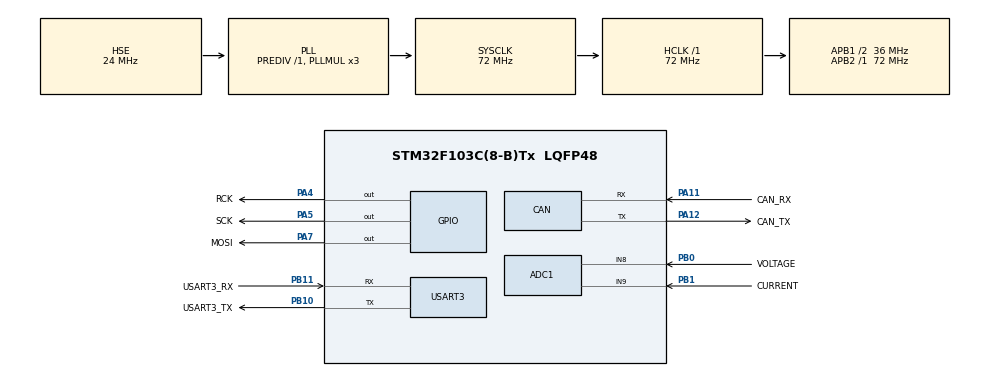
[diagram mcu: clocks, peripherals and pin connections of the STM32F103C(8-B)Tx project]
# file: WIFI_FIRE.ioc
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ADC1.Channel-0\#ChannelRegularConversion=ADC_CHANNEL_8
ADC1.NbrOfConversionFlag=1
ADC1.Rank-0\#ChannelRegularConversion=1
ADC1.SamplingTime-0\#ChannelRegularConversion=ADC_SAMPLETIME_1CYCLE_5
ADC1.master=1
CAN.CalculateTimeBit=1333
CAN.CalculateTimeQuantum=444.44444444444446
Mcu.Family=STM32F1
Mcu.Name=STM32F103C(8-B)Tx
Mcu.Package=LQFP48
NVIC.ADC1_2_IRQn=true\:2\:0\:true\:false\:true\:true
NVIC.PriorityGroup=NVIC_PRIORITYGROUP_4
NVIC.USART3_IRQn=true\:2\:0\:true\:false\:true\:true
PA11.GPIO_Label=CAN_RX
PA11.Mode=Master
PA11.Signal=CAN_RX
PA12.GPIO_Label=CAN_TX
PA12.Mode=Master
PA12.Signal=CAN_TX
PA13.Mode=Serial_Wire
PA13.Signal=SYS_JTMS-SWDIO
PA14.Mode=Serial_Wire
PA14.Signal=SYS_JTCK-SWCLK
PA4.GPIO_Label=RCK
PA4.GPIO_Speed=GPIO_SPEED_FREQ_MEDIUM
PA4.Signal=GPIO_Output
PA5.GPIO_Label=SCK
PA5.Signal=GPIO_Output
PA7.GPIO_Label=MOSI
PA7.Signal=GPIO_Output
PB0.GPIO_Label=VOLTAGE
PB0.Signal=ADCx_IN8
PB1.GPIO_Label=CURRENT
PB1.Signal=ADCx_IN9
PB10.GPIO_Label=USART3_TX
PB10.Mode=Asynchronous
PB10.Signal=USART3_TX
PB11.GPIO_Label=USART3_RX
PB11.Mode=Asynchronous
PB11.Signal=USART3_RX
PD0-OSC_IN.Mode=HSE-External-Clock-Source
PD0-OSC_IN.Signal=RCC_OSC_IN
PD1-OSC_OUT.Mode=HSE-External-Clock-Source
PD1-OSC_OUT.Signal=RCC_OSC_OUT
ProjectManager.HeapSize=0x200
ProjectManager.StackSize=0x400
ProjectManager.TargetToolchain=MDK-ARM V5
RCC.ADCPresc=RCC_ADCPCLK2_DIV6
RCC.AHBFreq_Value=72000000
RCC.APB1CLKDivider=RCC_HCLK_DIV2
RCC.APB1Freq_Value=36000000
RCC.APB1TimFreq_Value=72000000
RCC.APB2Freq_Value=72000000
RCC.APB2TimFreq_Value=72000000
RCC.HCLKFreq_Value=72000000
RCC.HSE_VALUE=24000000
RCC.PLLMUL=RCC_PLL_MUL3
RCC.PLLSourceVirtual=RCC_PLLSOURCE_HSE
RCC.SYSCLKFreq_VALUE=72000000
RCC.SYSCLKSource=RCC_SYSCLKSOURCE_PLLCLK
RCC.USBFreq_Value=72000000
SH.ADCx_IN8.0=ADC1_IN8,IN8
SH.ADCx_IN9.0=ADC1_IN9,IN9
USART3.VirtualMode=VM_ASYNC
board=WIFI_FIRE

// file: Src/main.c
/**
  ******************************************************************************
  * File Name          : main.c
  * Description        : Main program body
  ******************************************************************************
  ** This notice applies to any and all portions of this file
  * that are not between comment pairs USER CODE BEGIN and
  * USER CODE END. Other portions of this file, whether
  * inserted by the user or by software development tools
  * are owned by their respective copyright owners.
  *
  * COPYRIGHT(c) 2019 STMicroelectronics
  *
  * Redistribution and use in source and binary forms, with or without modification,
  * are permitted provided that the following conditions are met:
  *   1. Redistributions of source code must retain the above copyright notice,
  *      this list of conditions and the following disclaimer.
  *   2. Redistributions in binary form must reproduce the above copyright notice,
  *      this list of conditions and the following disclaimer in the documentation
  *      and/or other materials provided with the distribution.
  *   3. Neither the name of STMicroelectronics nor the names of its contributors
  *      may be used to endorse or promote products derived from this software
  *      without specific prior written permission.
  *
  * THIS SOFTWARE IS PROVIDED BY THE COPYRIGHT HOLDERS AND CONTRIBUTORS "AS IS"
  * AND ANY EXPRESS OR IMPLIED WARRANTIES, INCLUDING, BUT NOT LIMITED TO, THE
  * IMPLIED WARRANTIES OF MERCHANTABILITY AND FITNESS FOR A PARTICULAR PURPOSE ARE
  * DISCLAIMED. IN NO EVENT SHALL THE COPYRIGHT HOLDER OR CONTRIBUTORS BE LIABLE
  * FOR ANY DIRECT, INDIRECT, INCIDENTAL, SPECIAL, EXEMPLARY, OR CONSEQUENTIAL
  * DAMAGES (INCLUDING, BUT NOT LIMITED TO, PROCUREMENT OF SUBSTITUTE GOODS OR
  * SERVICES; LOSS OF USE, DATA, OR PROFITS; OR BUSINESS INTERRUPTION) HOWEVER
  * CAUSED AND ON ANY THEORY OF LIABILITY, WHETHER IN CONTRACT, STRICT LIABILITY,
  * OR TORT (INCLUDING NEGLIGENCE OR OTHERWISE) ARISING IN ANY WAY OUT OF THE USE
  * OF THIS SOFTWARE, EVEN IF ADVISED OF THE POSSIBILITY OF SUCH DAMAGE.
  *
  ******************************************************************************
  */

#include "main.h"
#include "stm32f1xx_hal.h"
#include "adc.h"
#include "can.h"
#include "usart.h"
#include "gpio.h"

/* USER CODE BEGIN Includes */
#include "config.h"
#include "74hc595.h"
#include "math.h"
/* USER CODE END Includes */

/* USER CODE BEGIN PV */
/* Private variables ---------------------------------------------------------*/

#define MAX_CUR 180		//最大电流值
#define MAX_VOL 70		//最大电压值
u8 ERROR_FLG=0;	 		//超最大值报警

u8 Num[8]="        ";			//荧光管显示的字符变量

/* USER CODE END PV */

void SystemClock_Config(void);

/* USER CODE BEGIN PFP */
/* Private function prototypes -----------------------------------------------*/

/* USER CODE END PFP */

int main(void)
{

  /* USER CODE BEGIN 1 */
  u16 counter=0;
  u16 tmp;
  u16 current,voltage;
  u16 CurErr=0;				//电流误差
  u16 VolErr=0;
  u16 cur_temp[5]={0};
  u16 vol_temp[5]={0};
  u8 cur_length,vol_length;
  /* USER CODE END 1 */

  /* MCU Configuration----------------------------------------------------------*/

  /* Reset of all peripherals, Initializes the Flash interface and the Systick. */
  HAL_Init();

  /* Configure the system clock */
  SystemClock_Config();

  /* Initialize all configured peripherals */
  MX_GPIO_Init();
  MX_CAN_Init();
  MX_USART3_UART_Init();
  MX_ADC1_Init();

  /* USER CODE BEGIN 2 */
  HC595Init();			//初始化74HC595
  Num[four_pos]='a';
  Num[seven_pos]='u';
  printf("Init Ok\r\n");
  /* USER CODE END 2 */

  /* Infinite loop */
  while (1)
  {

  /* USER CODE BEGIN 3 */
   counter++;
   if(2000==counter)
   {
	   counter=0;									//计数器清零

	   current=800;
//	   current=Get_Adc(ADC_CHANNEL_8);
	   current=(current*200/1024)+CurErr;			//量程换算
	   voltage=500;
	   voltage=Get_Adc(ADC_CHANNEL_8);

	   voltage=(voltage*80/1024)+VolErr;
	   if(current>MAX_CUR || voltage>MAX_VOL)
	   {
		   ERROR_FLG=1;
		   break;
	   }

	   ResolveNumBit(current,cur_temp,&cur_length);	 //取每一位
	   switch(cur_length)
	   {
		   case 0x01:
		       Num[one_pos]=' ';
			   Num[two_pos]=' ';
			   Num[three_pos]=cur_temp[0];
			   break;
		   case 0x02:
			   Num[one_pos]=' ';
			   Num[two_pos]=cur_temp[1];
		       Num[three_pos]=cur_temp[0];
			   break;
		   case 0x03:
			   Num[one_pos]=cur_temp[2];
			   Num[two_pos]=cur_temp[1];
		       Num[three_pos]=cur_temp[0];
			   break;
		   default:
		       Num[one_pos]='-';
			   Num[two_pos]='-';
			   Num[three_pos]='-';
			   break;
	   }
	   ResolveNumBit(voltage,vol_temp,&vol_length);	//取每一位
	   switch(vol_length)
	   {
		   case 1:
		       Num[five_pos]=' ';
			   Num[six_pos]=vol_temp[0];
			   break;
		   case 2:
			   Num[five_pos]=vol_temp[1];
			   Num[six_pos]=vol_temp[0];
			   break;
		   default:
		       Num[five_pos]='-';
			   Num[six_pos]='-';
			   break;
	   }
	   printf("cur: %d A \t vol: %d V\r\n",current,voltage);

   }

	DispNum(Num);	//数码管显示

  }
  /* USER CODE END 3 */

}

/** System Clock Configuration
*/
void SystemClock_Config(void)
{

  RCC_OscInitTypeDef RCC_OscInitStruct;
  RCC_ClkInitTypeDef RCC_ClkInitStruct;
  RCC_PeriphCLKInitTypeDef PeriphClkInit;

    /**Initializes the CPU, AHB and APB busses clocks
    */
  RCC_OscInitStruct.OscillatorType = RCC_OSCILLATORTYPE_HSE;
  RCC_OscInitStruct.HSEState = RCC_HSE_BYPASS;
  RCC_OscInitStruct.HSEPredivValue = RCC_HSE_PREDIV_DIV1;
  RCC_OscInitStruct.HSIState = RCC_HSI_ON;
  RCC_OscInitStruct.PLL.PLLState = RCC_PLL_ON;
  RCC_OscInitStruct.PLL.PLLSource = RCC_PLLSOURCE_HSE;
  RCC_OscInitStruct.PLL.PLLMUL = RCC_PLL_MUL3;
  if (HAL_RCC_OscConfig(&RCC_OscInitStruct) != HAL_OK)
  {
    _Error_Handler(__FILE__, __LINE__);
  }

    /**Initializes the CPU, AHB and APB busses clocks
    */
  RCC_ClkInitStruct.ClockType = RCC_CLOCKTYPE_HCLK|RCC_CLOCKTYPE_SYSCLK
                              |RCC_CLOCKTYPE_PCLK1|RCC_CLOCKTYPE_PCLK2;
  RCC_ClkInitStruct.SYSCLKSource = RCC_SYSCLKSOURCE_PLLCLK;
  RCC_ClkInitStruct.AHBCLKDivider = RCC_SYSCLK_DIV1;
  RCC_ClkInitStruct.APB1CLKDivider = RCC_HCLK_DIV2;
  RCC_ClkInitStruct.APB2CLKDivider = RCC_HCLK_DIV1;

  if (HAL_RCC_ClockConfig(&RCC_ClkInitStruct, FLASH_LATENCY_2) != HAL_OK)
  {
    _Error_Handler(__FILE__, __LINE__);
  }

  PeriphClkInit.PeriphClockSelection = RCC_PERIPHCLK_ADC;
  PeriphClkInit.AdcClockSelection = RCC_ADCPCLK2_DIV6;
  if (HAL_RCCEx_PeriphCLKConfig(&PeriphClkInit) != HAL_OK)
  {
    _Error_Handler(__FILE__, __LINE__);
  }

    /**Configure the Systick interrupt time
    */
  HAL_SYSTICK_Config(HAL_RCC_GetHCLKFreq()/1000);

    /**Configure the Systick
    */
  HAL_SYSTICK_CLKSourceConfig(SYSTICK_CLKSOURCE_HCLK);

  /* SysTick_IRQn interrupt configuration */
  HAL_NVIC_SetPriority(SysTick_IRQn, 0, 0);
}

void _Error_Handler(char * file, int line)
{
  while(1)
  {
  }
}

/************************ (C) COPYRIGHT STMicroelectronics *****END OF FILE****/
